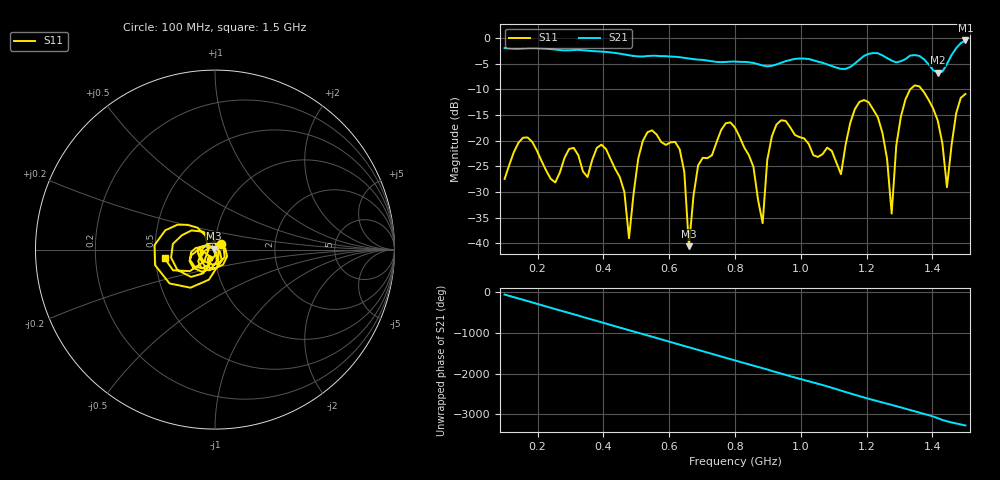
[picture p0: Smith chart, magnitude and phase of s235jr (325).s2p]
! NanoVNA-App
! Date: 2025-09-25 15:06:41
! Start: 100MHz Stop: 1,5GHz Points: 101
! S-Parameter data: F S11 S21 S12 S22
# Hz S RI R 50
!  Frequency  S11_Real  S11_Imag  S21_Real  S21_Imag  S12_Real  S12_Imag  S22_Real  S22_Imag
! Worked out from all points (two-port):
!   101 points, 100 MHz to 1.5 GHz, reference 50 ohm
!   highest |S21| = -0.49 dB at 1.5 GHz (marker M1); lowest = -6.8 dB at 1.416 GHz (marker M2)
!   |S21| within 3 dB of the highest: start of sweep to 490 MHz; 1.192 GHz to 1.25 GHz (58.1 MHz wide, 4.76 % of centre) (the widest 2 of 5)
!   lowest |S11| = -40.5 dB at 660 MHz (marker M3), VSWR 1.02, Z = 49.3 + j0.599 ohm
!   |S11| at or under -10 dB: start of sweep to 1.332 GHz; 1.367 GHz to end of sweep
!   S12 and S22 are empty: the file has one direction only
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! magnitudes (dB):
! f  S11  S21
! 100 MHz  -27.5  -2.0
! 156 MHz  -19.4  -2.0
! 338 MHz  -26.0  -2.4
! 408 MHz  -21.6  -2.7
! 478 MHz  -39.0  -3.4
! 520 MHz  -20.0  -3.6
! 576 MHz  -20.3  -3.5
! 632 MHz  -21.7  -3.7
! 660 MHz  -40.5  -4.0
! 688 MHz  -24.8  -4.2
! 800 MHz  -17.5  -4.6
! 884 MHz  -36.1  -5.4
! 926 MHz  -16.9  -5.2
! 1.038 GHz  -22.8  -4.3
! 1.122 GHz  -26.5  -6.0
! 1.206 GHz  -12.5  -3.1
! 1.276 GHz  -34.2  -4.4
! 1.29 GHz  -20.9  -4.8
! 1.332 GHz  -10.0  -3.4
! 1.416 GHz  -16.1  -6.8
! 1.444 GHz  -29.1  -5.1
! 1.5 GHz  -10.9  -0.5
